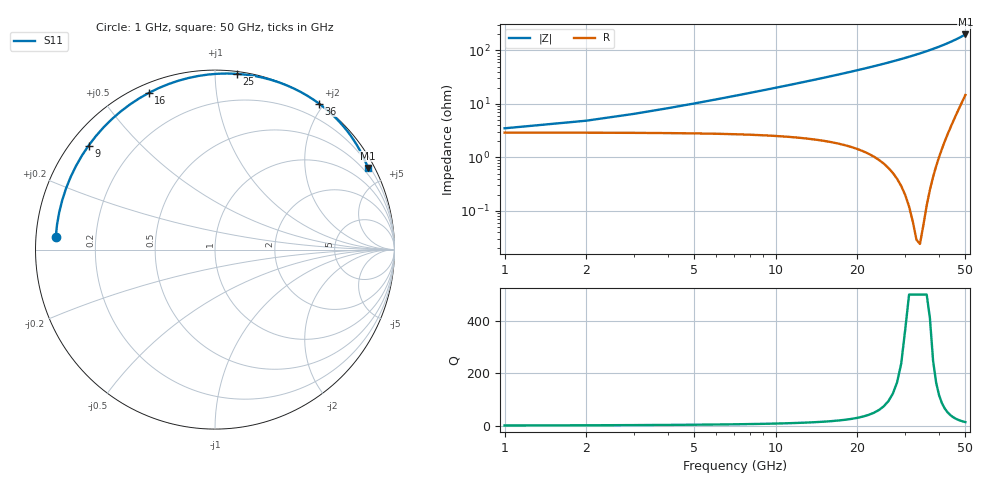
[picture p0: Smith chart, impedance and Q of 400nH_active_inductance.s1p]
! Created Thu Mar 12 11:04:33 2026
# hz S ma R 50
! Port[1] TermG1
! 1 Port Network Data from SP1.SP block
! freq  magS11  angS11
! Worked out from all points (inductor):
!   50 points, 1 GHz to 50 GHz, reference 50 ohm
!   read as one part to ground: L = 314 pH near 5 GHz
!   highest |Z| = 199 ohm at 50 GHz (marker M1)
!   S11 on the Smith chart (normalised r, x): 1 GHz: 0.06, +0.04; 9 GHz: 0.05, +0.36; 16 GHz: 0.04, +0.66; 25 GHz: 0.02, +1.13; 36 GHz: 0.00, +1.94; 50 GHz: 0.29, +3.97
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1e9  0.8901 175.5
2e9  0.891 171.0
3e9  0.8925 166.6
4e9  0.8945 162.1
5e9  0.8971 157.7
6e9  0.9002 153.4
8e9  0.9077 144.8
9e9  0.9121 140.6
1.1e10  0.9216 132.3
1.2e10  0.9266 128.3
1.4e10  0.9371 120.5
1.6e10  0.9476 113.0
1.8e10  0.9579 105.8
2e10  0.9674 98.9
2.2e10  0.976 92.3
2.3e10  0.9798 89.1
2.5e10  0.9866 83.0
2.6e10  0.9895 80.1
2.7e10  0.992 77.2
2.9e10  0.996 71.7
3.2e10  0.9993 63.9
3.4e10  0.9998 59.1
3.6e10  0.9989 54.5
3.8e10  0.9969 50.1
4.1e10  0.9919 44.0
4.4e10  0.9847 38.3
4.7e10  0.9759 33.0
5e10  0.9657 28.1
